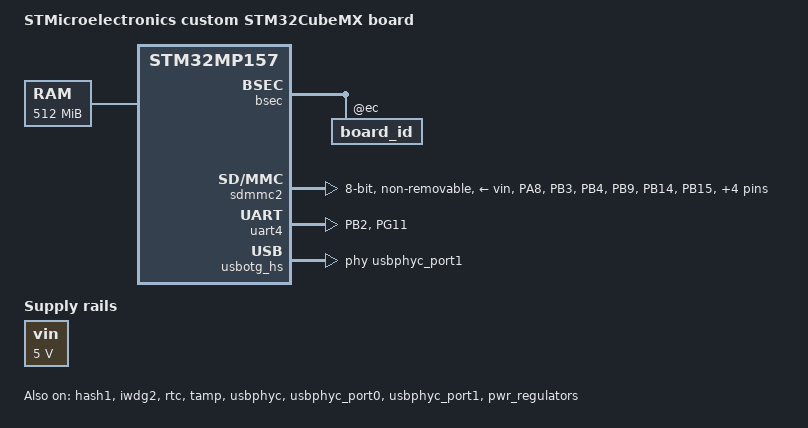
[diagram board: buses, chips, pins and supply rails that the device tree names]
/* SPDX-License-Identifier: (GPL-2.0+ OR BSD-3-Clause) */
/*
 * Copyright (C) STMicroelectronics 2021 - All Rights Reserved
 * Author: STM32CubeMX code generation for STMicroelectronics.
 */

/* For more information on Device Tree configuration, please refer to
 * https://wiki.st.com/stm32mpu/wiki/Category:Device_tree_configuration
 */

/dts-v1/;
#include <dt-bindings/pinctrl/stm32-pinfunc.h>
#include <dt-bindings/clock/stm32mp1-clksrc.h>
#include <dt-bindings/soc/st,stm32-etzpc.h>
#include "stm32mp15-mx.dtsi"

#include "stm32mp157.dtsi"
#include "stm32mp15xc.dtsi"
#include "stm32mp15xxac-pinctrl.dtsi"
#include "stm32mp15-ddr.dtsi"

/* USER CODE BEGIN includes */
#include <dt-bindings/power/stm32mp1-power.h>
/* USER CODE END includes */

/ {
	model = "STMicroelectronics custom STM32CubeMX board";
	compatible = "st,stm32mp157c-qsmp1570-mx", "st,stm32mp157";

	/* USER CODE BEGIN root */

	memory@c0000000{
		device_type = "memory";
		reg = <0xc0000000 0x20000000>;
	};

	vin:vin{
		compatible = "regulator-fixed";
		regulator-name = "vin";
		regulator-min-microvolt = <5000000>;
		regulator-max-microvolt = <5000000>;
		regulator-always-on;
	};

	aliases{
		serial0 = &uart4;
		serial1 = &usart3;
		serial2 = &usart2;
	};

	chosen{
		stdout-path = "serial0:115200n8";
	};
	/* USER CODE END root */

	clocks {
		/* USER CODE BEGIN clocks */
		/* USER CODE END clocks */

		clk_lse: clk-lse {
			st,drive = < LSEDRV_MEDIUM_HIGH >;

			/* USER CODE BEGIN clk_lse */
			/* USER CODE END clk_lse */
		};

		clk_hse: clk-hse {

			/* USER CODE BEGIN clk_hse */
			/* USER CODE END clk_hse */
		};
	};

}; /*root*/

&pinctrl {
	sdmmc2_pins_mx: sdmmc2_mx-0 {
		pins1 {
			pinmux = <STM32_PINMUX('A', 8, AF9)>, /* SDMMC2_D4 */
					 <STM32_PINMUX('B', 3, AF9)>, /* SDMMC2_D2 */
					 <STM32_PINMUX('B', 4, AF9)>, /* SDMMC2_D3 */
					 <STM32_PINMUX('B', 9, AF10)>, /* SDMMC2_D5 */
					 <STM32_PINMUX('B', 14, AF9)>, /* SDMMC2_D0 */
					 <STM32_PINMUX('B', 15, AF9)>, /* SDMMC2_D1 */
					 <STM32_PINMUX('C', 6, AF10)>, /* SDMMC2_D6 */
					 <STM32_PINMUX('C', 7, AF10)>, /* SDMMC2_D7 */
					 <STM32_PINMUX('G', 6, AF10)>; /* SDMMC2_CMD */
			bias-disable;
			drive-push-pull;
			slew-rate = <1>;
		};
		pins2 {
			pinmux = <STM32_PINMUX('E', 3, AF9)>; /* SDMMC2_CK */
			bias-disable;
			drive-push-pull;
			slew-rate = <3>;
		};
	};

	uart4_pins_mx: uart4_mx-0 {
		pins1 {
			pinmux = <STM32_PINMUX('B', 2, AF8)>; /* UART4_RX */
			bias-pull-up;
		};
		pins2 {
			pinmux = <STM32_PINMUX('G', 11, AF6)>; /* UART4_TX */
			bias-disable;
			drive-push-pull;
			slew-rate = <0>;
		};
	};

	/* USER CODE BEGIN pinctrl */
	/* USER CODE END pinctrl */
};

&pinctrl_z {
	/* USER CODE BEGIN pinctrl_z */
	/* USER CODE END pinctrl_z */
};

&rcc {
	st,csi-cal;
	st,hsi-cal;
	st,cal-sec = <60>;
	st,clksrc = <
		CLK_MPU_PLL1P
		CLK_AXI_PLL2P
		CLK_MCU_PLL3P
		CLK_PLL12_HSE
		CLK_PLL3_HSE
		CLK_PLL4_HSE
		CLK_RTC_LSE
		CLK_MCO1_DISABLED
		CLK_MCO2_DISABLED
	>;
	st,clkdiv = <
		1 		/*MPU*/
		0 		/*AXI*/
		0 		/*MCU*/
		1 		/*APB1*/
		1 		/*APB2*/
		1 		/*APB3*/
		1 		/*APB4*/
		2 		/*APB5*/
		0 		/*RTC*/
		0 		/*MCO1*/
		0 		/*MCO2*/
	>;
	st,pkcs = <
		CLK_CKPER_DISABLED
		CLK_QSPI_PLL4P
		CLK_ETH_PLL4P
		CLK_SDMMC12_PLL4P
		CLK_STGEN_HSE
		CLK_USBPHY_HSE
		CLK_SPI2S1_DISABLED
		CLK_SPI2S23_DISABLED
		CLK_SPI45_HSI
		CLK_SPI6_PCLK5
		CLK_I2C46_HSI
		CLK_SDMMC3_DISABLED
		CLK_USBO_USBPHY
		CLK_ADC_DISABLED
		CLK_CEC_DISABLED
		CLK_I2C12_HSI
		CLK_I2C35_DISABLED
		CLK_UART1_DISABLED
		CLK_UART24_HSI
		CLK_UART35_HSI
		CLK_UART6_DISABLED
		CLK_UART78_DISABLED
		CLK_SPDIF_DISABLED
		CLK_FDCAN_HSE
		CLK_SAI1_DISABLED
		CLK_SAI2_PLL4Q
		CLK_SAI3_DISABLED
		CLK_SAI4_DISABLED
		CLK_LPTIM1_DISABLED
		CLK_LPTIM23_DISABLED
		CLK_LPTIM45_DISABLED
	>;
	pll1:st,pll@0 {
		compatible = "st,stm32mp1-pll";
		reg = <0>;
		cfg = < 2 80 0 1 1 PQR(1,0,0) >;
		frac = < 0x800 >;
	};
	pll2:st,pll@1 {
		compatible = "st,stm32mp1-pll";
		reg = <1>;
		cfg = < 2 65 1 1 0 PQR(1,1,1) >;
		frac = < 0x1400 >;
	};
	pll3:st,pll@2 {
		compatible = "st,stm32mp1-pll";
		reg = <2>;
		cfg = < 1 51 2 16 36 PQR(1,0,0) >;
	};
	pll4:st,pll@3 {
		compatible = "st,stm32mp1-pll";
		reg = <3>;
		cfg = < 1 49 11 6 7 PQR(1,1,0) >;
	};
};

&bsec{
	status = "okay";
	secure-status = "okay";

	/* USER CODE BEGIN bsec */

	board_id:board_id@ec{
		reg = <0xec 0x4>;
		st,non-secure-otp;
	};
	/* USER CODE END bsec */
};

&etzpc{
	st,decprot = <
	/*"Non Secured" peripherals*/
	DECPROT(STM32MP1_ETZPC_DMA1_ID, DECPROT_NS_RW, DECPROT_UNLOCK)
	DECPROT(STM32MP1_ETZPC_DMAMUX_ID, DECPROT_NS_RW, DECPROT_UNLOCK)
	DECPROT(STM32MP1_ETZPC_ETH_ID, DECPROT_NS_RW, DECPROT_UNLOCK)
	DECPROT(STM32MP1_ETZPC_TT_FDCAN_ID, DECPROT_NS_RW, DECPROT_UNLOCK)
	DECPROT(STM32MP1_ETZPC_HASH1_ID, DECPROT_NS_RW, DECPROT_UNLOCK)
	DECPROT(STM32MP1_ETZPC_I2C2_ID, DECPROT_NS_RW, DECPROT_UNLOCK)
	DECPROT(STM32MP1_ETZPC_I2C6_ID, DECPROT_NS_RW, DECPROT_UNLOCK)
	DECPROT(STM32MP1_ETZPC_QSPI_ID, DECPROT_NS_RW, DECPROT_UNLOCK)
	DECPROT(STM32MP1_ETZPC_DLYBQ_ID, DECPROT_NS_RW, DECPROT_UNLOCK)
	DECPROT(STM32MP1_ETZPC_SAI2_ID, DECPROT_NS_RW, DECPROT_UNLOCK)
	DECPROT(STM32MP1_ETZPC_SPI6_ID, DECPROT_NS_RW, DECPROT_UNLOCK)
	DECPROT(STM32MP1_ETZPC_TIM2_ID, DECPROT_NS_RW, DECPROT_UNLOCK)
	DECPROT(STM32MP1_ETZPC_UART4_ID, DECPROT_NS_RW, DECPROT_UNLOCK)
	DECPROT(STM32MP1_ETZPC_USART2_ID, DECPROT_NS_RW, DECPROT_UNLOCK)
	DECPROT(STM32MP1_ETZPC_USART3_ID, DECPROT_NS_RW, DECPROT_UNLOCK)
	DECPROT(STM32MP1_ETZPC_OTG_ID, DECPROT_NS_RW, DECPROT_UNLOCK)
	/*"Secured" peripherals*/
	DECPROT(STM32MP1_ETZPC_DDRCTRL_ID, DECPROT_S_RW, DECPROT_UNLOCK)
	DECPROT(STM32MP1_ETZPC_DDRPHYC_ID, DECPROT_S_RW, DECPROT_UNLOCK)
	DECPROT(STM32MP1_ETZPC_STGENC_ID, DECPROT_S_RW, DECPROT_UNLOCK)
	/*"Mcu Isolation" peripherals*/
	DECPROT(STM32MP1_ETZPC_DMA2_ID, DECPROT_MCU_ISOLATION, DECPROT_UNLOCK)
	DECPROT(STM32MP1_ETZPC_SPI4_ID, DECPROT_MCU_ISOLATION, DECPROT_UNLOCK)

	/*Restriction: following IDs are not managed  - please to use User-Section if needed:
		STM32MP1_ETZPC_SRAMx_ID, STM32MP1_ETZPC_RETRAM_ID, STM32MP1_ETZPC_BKPSRAM_ID*/

	/* USER CODE BEGIN etzpc_decprot */
		/*STM32CubeMX generates a basic and standard configuration for ETZPC.
		Additional device configurations can be added here if needed.
		"etzpc" node could be also overloaded in "addons" User-Section.*/
	/* USER CODE END etzpc_decprot */
	>;

	secure-status = "okay";

	/* USER CODE BEGIN etzpc */
	/* USER CODE END etzpc */
};

&hash1{
	status = "okay";

	/* USER CODE BEGIN hash1 */
	/* USER CODE END hash1 */
};

&iwdg2{
	status = "okay";
	secure-status = "okay";

	/* USER CODE BEGIN iwdg2 */
	timeout-sec = <32>;
	/* USER CODE END iwdg2 */
};

&rcc{
	status = "okay";
	secure-status = "okay";

	/* USER CODE BEGIN rcc */
	/* USER CODE END rcc */
};

&rtc{
	status = "okay";
	secure-status = "okay";

	/* USER CODE BEGIN rtc */
	/* USER CODE END rtc */
};

&sdmmc2{
	pinctrl-names = "default";
	pinctrl-0 = <&sdmmc2_pins_mx>;
	status = "okay";

	/* USER CODE BEGIN sdmmc2 */
       non-removable;
       no-1-8-v;
       /* no-sd; */
       /* no-sdio; */
       st,neg-edge;
       bus-width = <8>;
       vmmc-supply = <&vin>;
       vqmmc-supply = <&vin>;
       mmc-ddr-3_3v;


	/* USER CODE END sdmmc2 */
};

&tamp{
	status = "okay";
	secure-status = "okay";

	/* USER CODE BEGIN tamp */
	/* USER CODE END tamp */
};

&uart4{
	pinctrl-names = "default";
	pinctrl-0 = <&uart4_pins_mx>;
	status = "okay";

	/* USER CODE BEGIN uart4 */
	/* USER CODE END uart4 */
};

&usbotg_hs{
	status = "okay";

	/* USER CODE BEGIN usbotg_hs */
	phys = <&usbphyc_port1 0>;
	phy-names = "usb2-phy";
	usb-role-switch;
	/* USER CODE END usbotg_hs */
};

&usbphyc{
	status = "okay";

	/* USER CODE BEGIN usbphyc */
	/* USER CODE END usbphyc */
};

&usbphyc_port0{
	status = "okay";

	/* USER CODE BEGIN usbphyc_port0 */
	/* no pmic phy-supply = <&vdd_usb>; */
	/* USER CODE END usbphyc_port0 */
};

&usbphyc_port1{
	status = "okay";

	/* USER CODE BEGIN usbphyc_port1 */
	/* no pmic phy-supply = <&vdd_usb>; */
	/* USER CODE END usbphyc_port1 */
};

/* USER CODE BEGIN addons */



&pwr_regulators{
	status = "okay";
	secure-status = "okay";

	system_suspend_supported_soc_modes = <
		STM32_PM_CSLEEP_RUN
		STM32_PM_CSTOP_ALLOW_LP_STOP
		STM32_PM_CSTOP_ALLOW_STANDBY_DDR_SR
	>;
	system_off_soc_mode = <STM32_PM_CSTOP_ALLOW_STANDBY_DDR_OFF>;
};




&cpu0{
	/* no pmic cpu-supply = <&vddcore>; */
};

&cpu1{
	/* cpu-supply = <&vddcore>; */
};

&nvmem_layout{
	nvmem-cells = <&cfg0_otp>, <&part_number_otp>, <&monotonic_otp>, <&nand_otp>, <&uid_otp>, <&package_otp>, <&hw2_otp>, <&pkh_otp>, <&board_id>;
	nvmem-cell-names = "cfg0_otp", "part_number_otp", "monotonic_otp", "nand_otp", "uid_otp", "package_otp", "hw2_otp", "pkh_otp", "board_id";
};

&timers15{
	secure-status = "okay";
	st,hsi-cal-input = <7>;
	st,csi-cal-input = <8>;
};
/* USER CODE END addons */

